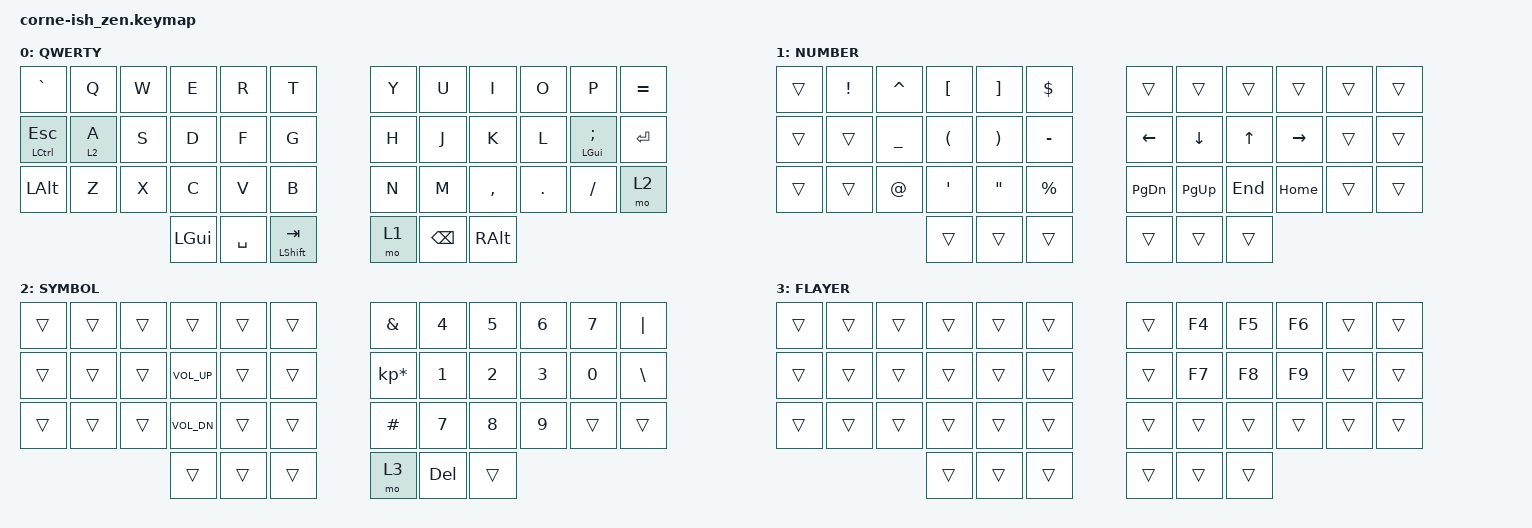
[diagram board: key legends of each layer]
/*
*
* Copyright (c) 2021 Darryl deHaan
* SPDX-License-Identifier: MIT
*
*/

#include <behaviors.dtsi>
#include <dt-bindings/zmk/keys.h>
#include <dt-bindings/zmk/bt.h>

/ {
        behaviors {
                lh_pht: left_hand_positional_hold_tap {
                    compatible = "zmk,behavior-hold-tap";
                    label = "POSITIONAL_HOLD_TAP";
                    #binding-cells = <2>;
                    flavor = "tap-unless-interrupted";
                    tapping-term-ms = <100>;                        // <---[[produces tap if held longer than tapping-term-ms]]
                    quick-tap-ms = <200>;
                    bindings = <&kp>, <&kp>;
                    hold-trigger-key-positions = <6 7 8 9 10 11>;    // <---[[right-hand keys]]
                };
        };
        keymap {
                compatible = "zmk,keymap";

                default_layer {
                        label = "QWERTY";
// -----------------------------------------------------------------------------------------
// |  TAB |  Q  |  W  |  E  |  R  |  T  |   |  Y  |  U   |  I  |  O  |  P  | BKSP |
// | CTRL |  A  |  S  |  D  |  F  |  G  |   |  H  |  J   |  K  |  L  |  ;  |  '   |
// | SHFT |  Z  |  X  |  C  |  V  |  B  |   |  N  |  M   |  ,  |  .  |  /  | ESC  |
//                    | GUI | LWR | SPC |   | LAYER1 | RSE  | ALT |
                        bindings = <
   &kp GRAVE       &kp Q     &kp W   &kp E   &kp R   &kp T             &kp Y &kp U  &kp I     &kp O   &kp P    &kp EQUAL
   &mt LCTRL ESC   &lt 2 A   &kp S   &kp D   &kp F   &kp G             &kp H &kp J  &kp K     &kp L   &mt LGUI SEMI &kp ENTER
   &kp LALT        &kp Z     &kp X   &kp C   &kp V   &kp B             &kp N &kp M  &kp COMMA &kp DOT &kp FSLH &mo 2
                              &kp LGUI &kp SPACE &mt LSHIFT TAB     &mo 1 &kp BSPC &kp RALT
                        >;
                };
                layer1 {
                        label = "NUMBER";
// -----------------------------------------------------------------------------------------
// |  TAB |  1  |  2  |  3  |  4  |  5  |   |  6  |  7  |  8  |  9  |  0  | BKSP |
// | BTCLR| BT1 | BT2 | BT3 | BT4 | BT5 |   | LFT | DWN |  UP | RGT |     |      |
// | SHFT |     |     |     |     |     |   |     |     |     |     |     |      |
//                    | GUI |     | SPC |   | ENT |     | ALT |
                        bindings = <
   &trans   &kp EXCL   &kp CARET   &kp LBKT   &kp RBKT   &kp DOLLAR         &trans   &trans   &trans   &trans   &trans &trans
   &trans   &trans     &kp UNDER   &kp LPAR   &kp RPAR   &kp MINUS          &kp LEFT  &kp DOWN   &kp UP   &kp RIGHT   &trans  &trans
   &trans   &trans     &kp AT    &kp APOS   &kp DQT    &kp PRCNT          &kp PG_DN  &kp PG_UP  &kp END   &kp HOME &trans &trans
                          	       &trans     &trans     &trans             &trans &trans &trans
                        >;
                };

                raise_layer {
                        label = "SYMBOL";
// -----------------------------------------------------------------------------------------
// |  TAB |  !  |  @  |  #  |  $  |  %  |   |  ^  |  &  |  *  |  (  |  )  | BKSP |
// | CTRL |     |     |     |     |     |   |  -  |  =  |  [  |  ]  |  \  |  `   |
// | SHFT |     |     |     |     |     |   |  _  |  +  |  {  |  }  | "|" |  ~   |
//                    | GUI |     | SPC |   | ENT |     | ALT |
                        bindings = <
   &trans   &trans   &trans   &trans   &trans   &trans          &kp AMPS  &kp N4   &kp N5   &kp N6   &kp N7   &kp PIPE
   &trans   &trans   &trans   &kp C_VOL_UP  &trans   &trans     &kp KP_MULTIPLY  &kp N1  &kp N2  &kp N3  &kp N0  &kp BSLH
   &trans   &trans   &trans   &kp C_VOL_DN  &trans   &trans     &kp HASH  &kp N7  &kp N8  &kp N9  &trans  &trans
                          	       &trans     &trans     &trans             &mo 3 &kp DEL &trans
                        >;
                };

                f_layer {
                        label = "FLAYER";
// -----------------------------------------------------------------------------------------
// |  TAB |  !  |  @  |  #  |  $  |  %  |   |  ^  |  &  |  *  |  (  |  )  | BKSP |
// | CTRL |     |     |     |     |     |   |  -  |  =  |  [  |  ]  |  \  |  `   |
// | SHFT |     |     |     |     |     |   |  _  |  +  |  {  |  }  | "|" |  ~   |
//                    | GUI |     | SPC |   | ENT |     | ALT |
                        bindings = <
   &trans   &trans   &trans   &trans   &trans   &trans         &trans   &kp F4  &kp F5  &kp F6  &trans  &trans
   &trans   &trans   &trans   &trans   &trans   &trans         &trans   &kp F7  &kp F8  &kp F9  &trans  &trans
   &trans   &trans   &trans   &trans   &trans   &trans         &trans   &trans   &trans   &trans   &trans   &trans
                   	  &trans     &trans     &trans             &trans     &trans     &trans
                        >;
                };
        };
};
